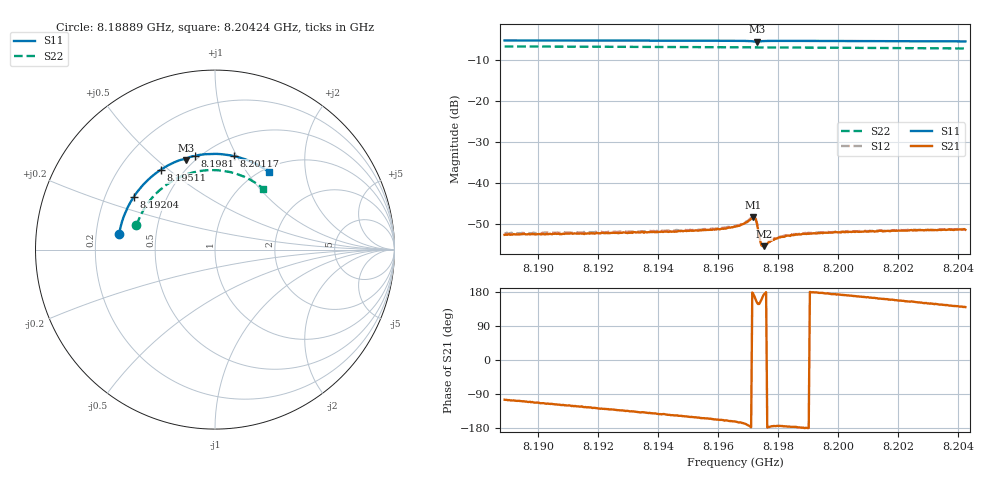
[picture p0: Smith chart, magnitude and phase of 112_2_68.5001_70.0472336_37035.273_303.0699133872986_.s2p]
#  HZ  S  RI  R  50.00
! Rohde & Schwarz Vector Network Analyzer
! Rohde-Schwarz,ZNB20-2Port,1311601062101988,3.16
! Created: UTC 3/20/2024, 5:08:45 PM
! freq[Hz]  re:S11  im:S11  re:S21  im:S21  re:S12  im:S12  re:S22  im:S22
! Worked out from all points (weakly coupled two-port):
!   401 points, 8.18889 GHz to 8.20424 GHz, reference 50 ohm
!   highest |S21| = -48.27 dB at 8.19718 GHz (marker M1); lowest = -55.3 dB at 8.19753 GHz (marker M2)
!   lowest |S11| = -5.6 dB at 8.1973 GHz (marker M3), VSWR 3.19, Z = 22.8 + j31.2 ohm
!   |S11| at or under -10 dB: nowhere
!   |S22| runs from -7.3 to -6.8 dB; largest |S21 - S12| = 0.00021
!   S11 on the Smith chart (normalised r, x): 8.18889 GHz: 0.30, +0.08; 8.19204 GHz: 0.32, +0.27; 8.19511 GHz: 0.38, +0.47; 8.1981 GHz: 0.47, +0.69; 8.20117 GHz: 0.67, +0.97; 8.20424 GHz: 1.07, +1.28
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8.188893e9  -0.5339 0.0892  -0.000604 -0.00228  -0.000693 -0.00235  -0.4374 0.135
8.191464e9  -0.4743 0.2584  -0.00131 -0.00206  -0.00145 -0.00207  -0.372 0.2615
8.192039e9  -0.4534 0.293  -0.00151 -0.00194  -0.0016 -0.00198  -0.3521 0.2866
8.194034e9  -0.3619 0.3988  -0.00205 -0.00154  -0.0021 -0.00154  -0.2701 0.3615
8.195109e9  -0.3017 0.4451  -0.0023 -0.00132  -0.00236 -0.00127  -0.2189 0.3928
8.196106e9  -0.2403 0.48  -0.00259 -0.00105  -0.00271 -0.000961  -0.1677 0.4155
8.196567e9  -0.2097 0.4932  -0.00283 -0.000904  -0.0029 -0.000825  -0.1431 0.4238
8.196797e9  -0.1935 0.499  -0.00307 -0.000764  -0.00313 -0.000663  -0.1306 0.4275
8.197181e9  -0.1633 0.5013  -0.00383 0.000455  -0.00389 0.000647  -0.1095 0.4325
8.197219e9  -0.1614 0.4996  -0.00374 0.000882  -0.00375 0.00109  -0.1074 0.4329
8.197257e9  -0.1607 0.498  -0.00339 0.00128  -0.00341 0.00147  -0.1053 0.4333
8.197296e9  -0.1612 0.4974  -0.00287 0.00153  -0.00286 0.00166  -0.1032 0.4338
8.197411e9  -0.1606 0.5036  -0.00175 0.000872  -0.00175 0.000971  -0.0971 0.4352
8.197449e9  -0.1586 0.506  -0.00165 0.000605  -0.00165 0.000688  -0.095 0.4356
8.197526e9  -0.1533 0.5099  -0.00171 0.000214  -0.0017 0.000306  -0.0907 0.4365
8.19791e9  -0.1251 0.5201  -0.00211 -0.000199  -0.00214 -0.000106  -0.0692 0.4397
8.198101e9  -0.1111 0.5232  -0.00221 -0.000224  -0.00225 -0.000137  -0.0585 0.4407
8.198485e9  -0.0838 0.528  -0.00233 -0.000153  -0.00238 -4.29e-05  -0.0367 0.4426
8.199137e9  -0.0376 0.5326  -0.00246 5.62e-05  -0.00249 0.000129  0.000435 0.4429
8.201171e9  0.1055 0.5211  -0.00251 0.000731  -0.00252 0.000847  0.1142 0.424
8.201708e9  0.1423 0.5115  -0.00245 0.000928  -0.00244 0.00101  0.1434 0.4139
8.20424e9  0.302 0.4323  -0.00208 0.00176  -0.00206 0.00188  0.2685 0.3395
